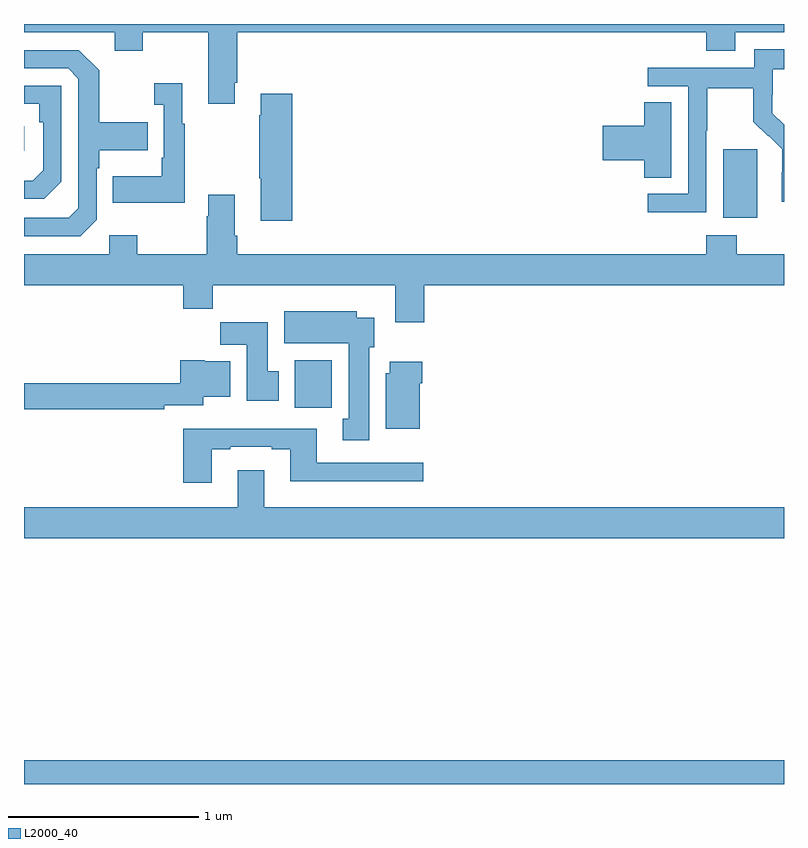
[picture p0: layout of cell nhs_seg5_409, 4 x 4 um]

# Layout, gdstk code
import gdstk
lib = gdstk.Library(unit=1e-6, precision=1e-09)
def R(c, l, rs):  # rectangles x0, y0, x1, y1
    for r in rs: c.add(gdstk.rectangle(r[:2], r[2:], *l))
def P(c, l, *ps):  # polygons
    for p in ps: c.add(gdstk.Polygon(p, *l))
L2000_40 = (2000, 40)

nhs_seg5_409 = lib.new_cell('nhs_seg5_409')
R(nhs_seg5_409, L2000_40, [(137,856.799,141,856.924), (138.425,858.78,138.621,859.03), (140.681,859.778,140.86,860.139), (137,860.132,137.002,860.262)])
P(nhs_seg5_409, L2000_40, [(138.109,860.491),(138.122,860.491),(138.122,860.756),(140.591,860.756),(140.591,860.657),(140.743,860.657),(140.743,860.756),(141,860.756),(141,860.799),(137,860.799),(137,860.756),(137.477,860.756),(137.477,860.657),(137.625,860.657),(137.625,860.756),(137.969,860.756),(137.969,860.379),(138.109,860.379)],
  [(140.592,860.236),(140.595,860.236),(140.595,860.46),(140.839,860.46),(140.839,860.285),(140.916,860.208),(140.919,860.211),(140.99,860.141),(140.99,860.018),(140.988,860.018),(140.988,859.864),(141,859.864),(141,860.268),(140.938,860.33),(140.938,860.427),(140.94,860.427),(140.94,860.561),(141,860.561),(141,860.665),(140.844,860.665),(140.844,860.568),(140.283,860.568),(140.283,860.472),(140.496,860.472),(140.496,859.905),(140.283,859.905),(140.283,859.807),(140.592,859.807)],
  [(137.382,859.77),(137.382,860.039),(137.395,860.039),(137.395,860.135),(137.651,860.135),(137.651,860.283),(137.395,860.283),(137.395,860.555),(137.289,860.661),(137,860.661),(137,860.565),(137.232,860.565),(137.286,860.511),(137.286,859.83),(137.235,859.779),(137,859.779),(137,859.683),(137.295,859.683)],
  [(137.845,860.275),(137.833,860.275),(137.833,860.488),(137.685,860.488),(137.685,860.375),(137.736,860.375),(137.736,860.095),(137.724,860.095),(137.724,859.999),(137.467,859.999),(137.467,859.859),(137.845,859.859)],
  [(137.196,859.968),(137.196,860.475),(137,860.475),(137,860.379),(137.08,860.379),(137.08,860.282),(137.1,860.282),(137.1,860.028),(137.047,859.975),(137,859.975),(137,859.878),(137.106,859.878)],
  [(138.413,860.431),(138.245,860.431),(138.245,860.318),(138.238,860.318),(138.238,859.987),(138.245,859.987),(138.245,859.764),(138.413,859.764)],
  [(140.407,860.387),(140.264,860.387),(140.264,860.264),(140.046,860.264),(140.046,860.081),(140.264,860.081),(140.264,859.99),(140.407,859.99)],
  [(139.106,859.424),(141,859.424),(141,859.588),(140.751,859.588),(140.751,859.687),(140.591,859.687),(140.591,859.588),(138.122,859.588),(138.122,859.684),(138.109,859.684),(138.109,859.9),(137.969,859.9),(137.969,859.787),(137.962,859.787),(137.962,859.588),(137.595,859.588),(137.595,859.687),(137.448,859.687),(137.448,859.588),(137,859.588),(137,859.424),(137.837,859.424),(137.837,859.3),(137.993,859.3),(137.993,859.424),(138.953,859.424),(138.953,859.23),(139.106,859.23)],
  [(138.817,859.098),(138.844,859.098),(138.844,859.252),(138.751,859.252),(138.751,859.288),(138.371,859.288),(138.371,859.118),(138.71,859.118),(138.71,858.721),(138.677,858.721),(138.677,858.609),(138.817,858.609)],
  [(138.34,858.972),(138.283,858.972),(138.283,859.23),(138.034,859.23),(138.034,859.112),(138.173,859.112),(138.173,858.816),(138.34,858.816)],
  [(137.738,858.792),(137.944,858.792),(137.944,858.836),(138.085,858.836),(138.085,859.024),(137.952,859.024),(137.952,859.03),(137.822,859.03),(137.822,858.908),(137,858.908),(137,858.772),(137.738,858.772)],
  [(139.084,858.908),(139.097,858.908),(139.097,859.021),(138.926,859.021),(138.926,858.96),(138.905,858.96),(138.905,858.668),(139.084,858.668)],
  [(137.989,858.561),(138.085,858.561),(138.085,858.573),(138.305,858.573),(138.305,858.561),(138.401,858.561),(138.401,858.392),(139.102,858.392),(139.102,858.489),(138.541,858.489),(138.541,858.67),(137.837,858.67),(137.837,858.384),(137.989,858.384)],
  [(141,858.256),(138.265,858.256),(138.265,858.451),(138.125,858.451),(138.125,858.256),(137,858.256),(137,858.092),(141,858.092)])

lib.write_gds('nhs_seg5_409.gds')
